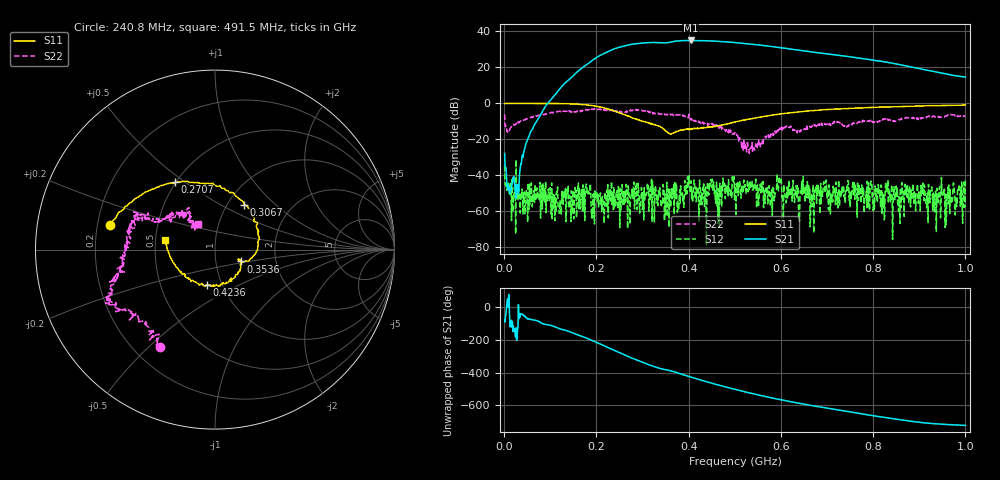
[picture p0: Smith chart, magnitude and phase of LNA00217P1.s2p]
! Created with skrf 1.9.0 (http://scikit-rf.org).
# Hz S RI R 50.0
!freq ReS11 ImS11 ReS21 ImS21 ReS12 ImS12 ReS22 ImS22
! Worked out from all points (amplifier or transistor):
!   1001 points, 1 MHz to 1 GHz, reference 50 ohm
!   highest |S21| = 35.0 dB at 404.6 MHz (marker M1)
!   |S21| within 3 dB of that: 261.9 MHz to 568.2 MHz (306.3 MHz wide, 73.8 % of centre)
!   unconditionally stable (mu >= 1): start of sweep to 89.52 MHz; 281.9 MHz to 397.6 MHz; 400.9 MHz to end of sweep (the widest 3 of 23)
!   at 166.8 MHz: K = 1.88, MAG = 29.4 dB, |S12| = -50.2 dB
!   at 500.5 MHz: K = 2.03, MAG = 34.3 dB, |S12| = -46.4 dB
!   at 1 GHz: K = 2.36, MAG = 22.0 dB, |S12| = -42.5 dB
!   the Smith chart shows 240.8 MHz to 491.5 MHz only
!   S11 on the Smith chart (normalised r, x): 240.8 MHz: 0.25, +0.11; 270.7 MHz: 0.50, +0.46; 306.7 MHz: 1.19, +0.66; 353.6 MHz: 1.32, -0.18; 423.6 MHz: 0.85, -0.35; 491.5 MHz: 0.56, +0.07
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1000000  0.9855 -0.000347  0.00768 -0.0395  -0.0185 -0.000349  0.3384 0.3653
1.08892e8  0.5154 -0.846  -0.7686 -1.463  -0.00107 0.00291  0.4241 -0.378
1.67833e8  -0.2423 -0.8989  -9.467 -0.6156  -0.00269 6.79e-05  0.0248 -0.6242
2.08792e8  -0.6812 -0.4015  -15.4 15.29  0.00115 -0.00304  -0.2107 -0.6344
2.4076e8  -0.5851 0.138  -2.473 33.31  0.00225 -0.000814  -0.3053 -0.5435
2.7073e8  -0.2212 0.3747  22.78 35.43  -0.00313 -0.000933  -0.5098 -0.3337
2.87713e8  -0.00477 0.3589  36.06 28.14  -0.00112 -5.76e-05  -0.5838 -0.2755
3.06694e8  0.1626 0.2508  46.2 13.83  -0.00279 -0.000621  -0.5807 -0.199
3.34666e8  0.2382 0.00122  47.85 -8.902  0.000965 0.00364  -0.5019 -0.0553
3.53647e8  0.1424 -0.0658  44.43 -19.12  -0.000245 0.000671  -0.493 0.0776
3.75625e8  0.1426 -0.0845  41.33 -35.21  0.000854 0.00038  -0.4404 0.1698
4.04596e8  0.0631 -0.1892  22.06 -51.5  -0.00105 0.00669  -0.3247 0.1728
4.23577e8  -0.0471 -0.1961  6.859 -55.13  0.007 0.00223  -0.2478 0.1536
4.55545e8  -0.1935 -0.1278  -16.82 -50.92  8.46e-05 0.00308  -0.1625 0.1873
4.91509e8  -0.2779 0.056  -35.3 -35.31  0.00284 0.00298  -0.094 0.1453
5.005e8  -0.2803 0.1044  -38.49 -30.7  -0.00472 -0.000666  -0.0959 0.1179
5.4046e8  -0.2088 0.3212  -42.57 -8.617  0.00537 -0.00204  -0.0482 0.0274
5.88412e8  -0.00151 0.4879  -34.84 11.83  0.00316 -0.000921  -0.1243 -0.0832
6.67333e8  0.3835 0.4965  -13.03 23.22  0.000265 -0.00134  -0.2326 -0.00947
7.53247e8  0.668 0.2872  3.667 18.98  0.00166 -0.00307  -0.2584 0.0304
8.34166e8  0.7945 0.0219  10 9.215  0.00098 -0.00397  -0.3418 0.00894
1e9  0.725 -0.5237  5.395 -0.189  0.00444 -0.00605  -0.2866 0.3287
